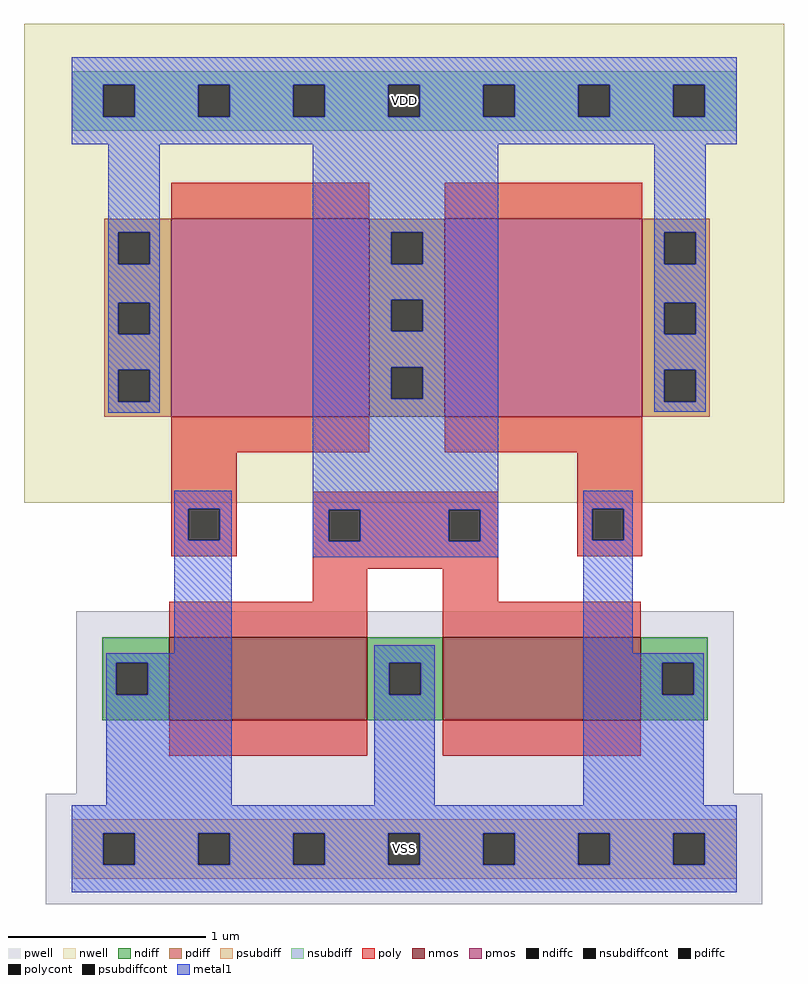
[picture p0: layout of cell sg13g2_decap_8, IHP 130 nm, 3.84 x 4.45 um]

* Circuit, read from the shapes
.subckt sg13g2_decap_8 VDD VSS
XM1 VSS VDD VSS VSS sg13_lv_nmos w=0.42u l=1u m=2
XM2 VDD VSS VDD VDD sg13_lv_pmos w=1u l=1u m=2
.ends

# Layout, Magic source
magic
tech ihp-sg13g2
magscale 1 2
<< nwell >>
rect -48 350 720 834
<< pwell >>
rect 5 56 669 240
rect -26 -56 698 56
<< nmos >>
rect 99 130 299 214
rect 375 130 575 214
<< pmos >>
rect 101 437 301 637
rect 377 437 577 637
<< ndiff >>
rect 31 188 99 214
rect 31 156 45 188
rect 77 156 99 188
rect 31 130 99 156
rect 299 188 375 214
rect 299 156 321 188
rect 353 156 375 188
rect 299 130 375 156
rect 575 188 643 214
rect 575 156 597 188
rect 629 156 643 188
rect 575 130 643 156
<< pdiff >>
rect 33 623 101 637
rect 33 591 47 623
rect 79 591 101 623
rect 33 552 101 591
rect 33 520 47 552
rect 79 520 101 552
rect 33 484 101 520
rect 33 452 47 484
rect 79 452 101 484
rect 33 437 101 452
rect 301 623 377 637
rect 301 591 323 623
rect 355 591 377 623
rect 301 555 377 591
rect 301 523 323 555
rect 355 523 377 555
rect 301 487 377 523
rect 301 455 323 487
rect 355 455 377 487
rect 301 437 377 455
rect 577 623 645 637
rect 577 591 599 623
rect 631 591 645 623
rect 577 552 645 591
rect 577 520 599 552
rect 631 520 645 552
rect 577 484 645 520
rect 577 452 599 484
rect 631 452 645 484
rect 577 437 645 452
<< ndiffc >>
rect 45 156 77 188
rect 321 156 353 188
rect 597 156 629 188
<< pdiffc >>
rect 47 591 79 623
rect 47 520 79 552
rect 47 452 79 484
rect 323 591 355 623
rect 323 523 355 555
rect 323 455 355 487
rect 599 591 631 623
rect 599 520 631 552
rect 599 452 631 484
<< psubdiff >>
rect 0 16 672 30
rect 0 -16 32 16
rect 64 -16 128 16
rect 160 -16 224 16
rect 256 -16 320 16
rect 352 -16 416 16
rect 448 -16 512 16
rect 544 -16 608 16
rect 640 -16 672 16
rect 0 -30 672 -16
<< nsubdiff >>
rect 0 772 672 786
rect 0 740 32 772
rect 64 740 128 772
rect 160 740 224 772
rect 256 740 320 772
rect 352 740 416 772
rect 448 740 512 772
rect 544 740 608 772
rect 640 740 672 772
rect 0 726 672 740
<< psubdiffcont >>
rect 32 -16 64 16
rect 128 -16 160 16
rect 224 -16 256 16
rect 320 -16 352 16
rect 416 -16 448 16
rect 512 -16 544 16
rect 608 -16 640 16
<< nsubdiffcont >>
rect 32 740 64 772
rect 128 740 160 772
rect 224 740 256 772
rect 320 740 352 772
rect 416 740 448 772
rect 512 740 544 772
rect 608 740 640 772
<< poly >>
rect 101 637 301 673
rect 377 637 577 673
rect 101 401 301 437
rect 377 401 577 437
rect 101 344 167 401
rect 101 312 118 344
rect 150 312 167 344
rect 101 296 167 312
rect 244 343 431 361
rect 244 311 260 343
rect 292 311 381 343
rect 413 311 431 343
rect 244 283 431 311
rect 511 344 577 401
rect 511 312 526 344
rect 558 312 577 344
rect 511 296 577 312
rect 244 250 299 283
rect 99 214 299 250
rect 375 250 431 283
rect 375 214 575 250
rect 99 94 299 130
rect 375 94 575 130
<< polycont >>
rect 118 312 150 344
rect 260 311 292 343
rect 381 311 413 343
rect 526 312 558 344
<< metal1 >>
rect 0 772 672 800
rect 0 740 32 772
rect 64 740 128 772
rect 160 740 224 772
rect 256 740 320 772
rect 352 740 416 772
rect 448 740 512 772
rect 544 740 608 772
rect 640 740 672 772
rect 0 712 672 740
rect 37 623 89 712
rect 37 591 47 623
rect 79 591 89 623
rect 37 552 89 591
rect 37 520 47 552
rect 79 520 89 552
rect 37 484 89 520
rect 37 452 47 484
rect 79 452 89 484
rect 37 441 89 452
rect 244 623 431 712
rect 244 591 323 623
rect 355 591 431 623
rect 244 555 431 591
rect 244 523 323 555
rect 355 523 431 555
rect 244 487 431 523
rect 244 455 323 487
rect 355 455 431 487
rect 104 344 162 362
rect 104 312 118 344
rect 150 312 162 344
rect 104 198 162 312
rect 244 343 431 455
rect 589 623 641 712
rect 589 591 599 623
rect 631 591 641 623
rect 589 552 641 591
rect 589 520 599 552
rect 631 520 641 552
rect 589 484 641 520
rect 589 452 599 484
rect 631 452 641 484
rect 589 442 641 452
rect 244 311 260 343
rect 292 311 381 343
rect 413 311 431 343
rect 244 295 431 311
rect 517 344 567 362
rect 517 312 526 344
rect 558 312 567 344
rect 35 188 162 198
rect 35 156 45 188
rect 77 156 162 188
rect 35 44 162 156
rect 306 188 367 206
rect 306 156 321 188
rect 353 156 367 188
rect 306 44 367 156
rect 517 198 567 312
rect 517 188 639 198
rect 517 156 597 188
rect 629 156 639 188
rect 517 44 639 156
rect 0 16 672 44
rect 0 -16 32 16
rect 64 -16 128 16
rect 160 -16 224 16
rect 256 -16 320 16
rect 352 -16 416 16
rect 448 -16 512 16
rect 544 -16 608 16
rect 640 -16 672 16
rect 0 -44 672 -16
<< labels >>
flabel metal1 s 0 712 672 800 0 FreeSans 400 0 0 0 VDD
port 2 nsew
flabel metal1 s 0 -44 672 44 0 FreeSans 400 0 0 0 VSS
port 3 nsew
<< properties >>
string FIXED_BBOX 0 0 672 756
string GDS_END 3470
string GDS_FILE ../gds/controller.gds
string GDS_START 114
<< end >>
